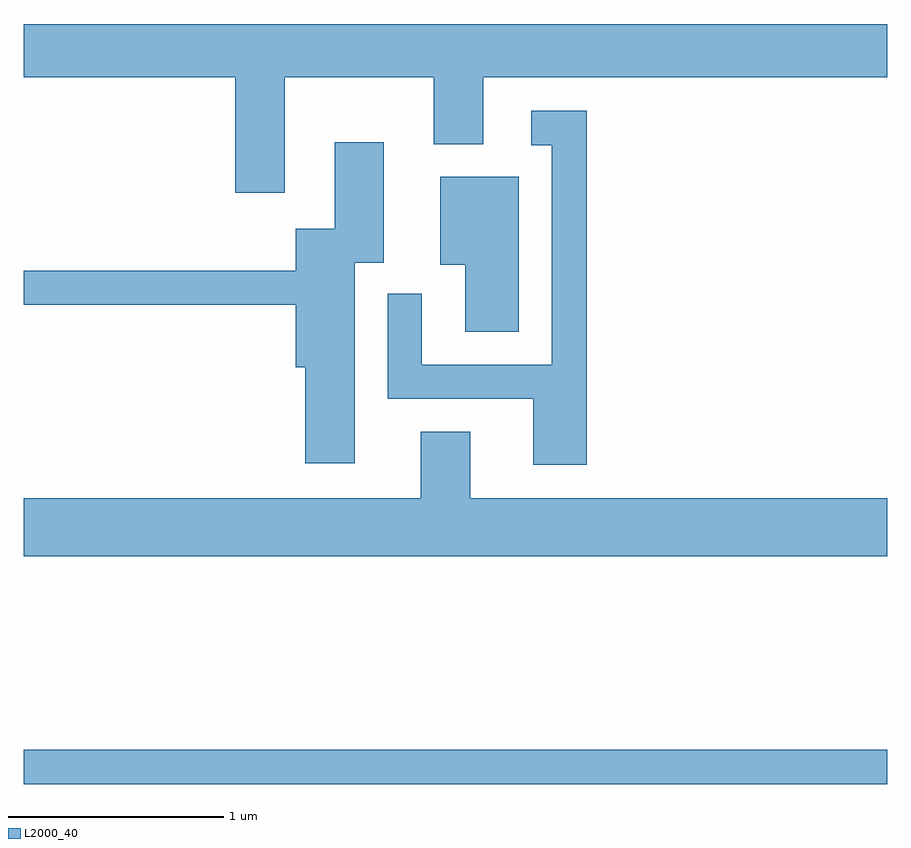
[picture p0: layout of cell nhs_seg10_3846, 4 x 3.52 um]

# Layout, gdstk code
import gdstk
lib = gdstk.Library(unit=1e-6, precision=1e-09)
def R(c, l, rs):  # rectangles x0, y0, x1, y1
    for r in rs: c.add(gdstk.rectangle(r[:2], r[2:], *l))
def P(c, l, *ps):  # polygons
    for p in ps: c.add(gdstk.Polygon(p, *l))
L2000_40 = (2000, 40)

nhs_seg10_3846 = lib.new_cell('nhs_seg10_3846')
R(nhs_seg10_3846, L2000_40, [(297.611,2195.001,301.611,2195.159)])
P(nhs_seg10_3846, L2000_40, [(298.819,2198.276),(299.511,2198.276),(299.511,2197.966),(299.739,2197.966),(299.739,2198.276),(301.611,2198.276),(301.611,2198.522),(297.611,2198.522),(297.611,2198.276),(298.591,2198.276),(298.591,2197.741),(298.819,2197.741)],
  [(300.219,2198.119),(299.963,2198.119),(299.963,2197.961),(300.056,2197.961),(300.056,2196.944),(299.454,2196.944),(299.454,2197.273),(299.296,2197.273),(299.296,2196.786),(299.971,2196.786),(299.971,2196.481),(300.219,2196.481)],
  [(299.144,2197.416),(299.279,2197.416),(299.279,2197.974),(299.051,2197.974),(299.051,2197.574),(298.871,2197.574),(298.871,2197.379),(297.611,2197.379),(297.611,2197.221),(298.871,2197.221),(298.871,2196.931),(298.916,2196.931),(298.916,2196.486),(299.144,2196.486)],
  [(299.904,2197.814),(299.541,2197.814),(299.541,2197.406),(299.656,2197.406),(299.656,2197.096),(299.904,2197.096)],
  [(301.611,2196.324),(299.679,2196.324),(299.679,2196.634),(299.451,2196.634),(299.451,2196.324),(297.611,2196.324),(297.611,2196.056),(301.611,2196.056)])

lib.write_gds('nhs_seg10_3846.gds')
